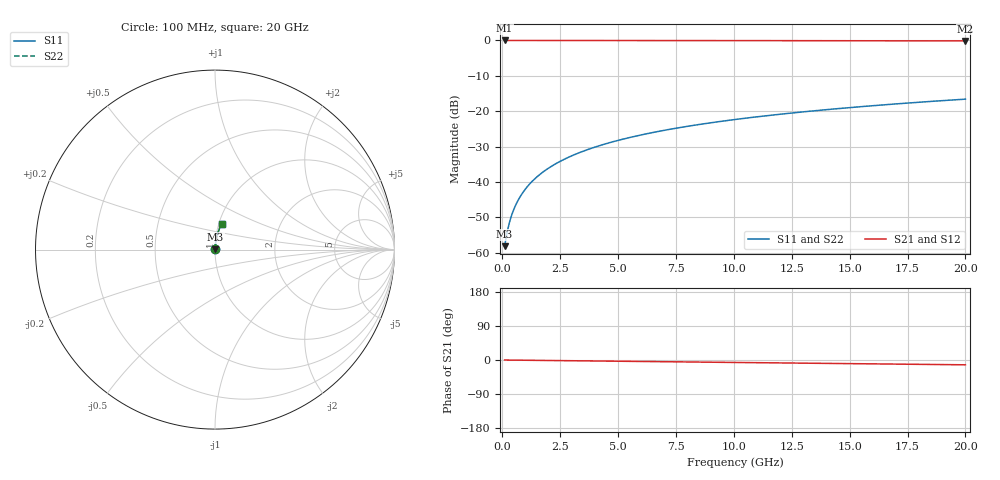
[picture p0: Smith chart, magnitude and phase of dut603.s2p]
! Touchstone file exported from HFSS 2026.1.0
!  File:  C:/ffzhzh/LocalFiles/Ansys_Project_Files/temp_train_BSMRDL_603_1783016095_51716.aedt
!  Generated:  02:16:14 AM Jul  3, 2026
!  Design:  BSMRDL
!  Project:  temp_train_BSMRDL_603_1783016095_51716
! Variables:
!  h_bsmrdl = 4.82um
!  h_ox = 20um
!  h_rdl = 5um
!  h_sub = 80um
!  h_tmrdl = 5um
!  h_tsv = 80um
!  h_via = 3um
!  l_bsmrdl = 141.13um
!  l_sub = 541.13um
!  l_tmrdl = 200um
!  m_sub = 200um
!  pitch = 41.61um
!  r_tsv = 6um
!  s_tmrdl = 10um
!  w_bsmrdl = 12.82um
!  w_sub = 500um
!  w_tmrdl = 12um
!  x_tsv_center1 = 206um
!  x_tsv_center2 = 359.95um
!  x_tsv_center3 = 571.95um
!  x_tsv_center4 = 725.9um
!  x_tsv_center5 = 937.9um
!  x_tsv_center6 = 1091.85um
# GHz S MA R 50.000000
! Terminal data exported
! Port[1] = BSM_RDL1_1_T1
! Port[2] = BSM_RDL1_1_T2
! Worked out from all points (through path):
!   200 points, 100 MHz to 20 GHz, reference 50 ohm
!   highest |S21| = -0.01 dB at 100 MHz (marker M1); lowest = -0.1 dB at 20 GHz (marker M2)
!   group delay of S21, straight-line fit = 1.76 ps
!   lowest |S11| = -58.2 dB at 100 MHz (marker M3), VSWR 1.00, Z = 50.1 + j0.0818 ohm
!   |S11| at or under -10 dB: start of sweep to end of sweep
!   |S22| runs from -58.2 to -16.6 dB; largest |S21 - S12| = 2e-15
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0.1  0.001237 41.3  0.9991 -0.1  0.9991 -0.1  0.001237 41.3
! Gamma 0 0 0 0
! Port Impedance 50 0 50 0
0.2  0.001883 59.6  0.9991 -0.1  0.9991 -0.1  0.001883 59.6
0.3  0.002612 67.9  0.999 -0.2  0.999 -0.2  0.002612 67.9
0.4  0.003362 72.4  0.999 -0.3  0.999 -0.3  0.003362 72.4
0.5  0.00412 75.3  0.999 -0.3  0.999 -0.3  0.00412 75.3
0.6  0.004883 77.3  0.9989 -0.4  0.9989 -0.4  0.004883 77.3
0.8  0.006415 79.9  0.9989 -0.5  0.9989 -0.5  0.006415 79.9
1.1  0.008728 82.0  0.9988 -0.7  0.9988 -0.7  0.008728 82.0
1.5  0.01182 83.4  0.9988 -1.0  0.9988 -1.0  0.01182 83.4
1.8  0.01415 84.0  0.9987 -1.2  0.9987 -1.2  0.01415 84.0
2.1  0.01647 84.3  0.9986 -1.4  0.9986 -1.4  0.01647 84.3
2.7  0.0211 84.6  0.9984 -1.8  0.9984 -1.8  0.0211 84.6
3.5  0.02725 84.5  0.9981 -2.3  0.9981 -2.3  0.02725 84.5
4.2  0.03261 84.3  0.9978 -2.7  0.9978 -2.7  0.03261 84.3
5  0.03868 84.0  0.9974 -3.3  0.9974 -3.3  0.03868 84.0
5.9  0.04547 83.6  0.9969 -3.8  0.9969 -3.8  0.04547 83.6
6.8  0.05222 83.1  0.9964 -4.4  0.9964 -4.4  0.05222 83.1
8.3  0.06339 82.4  0.9955 -5.4  0.9955 -5.4  0.06339 82.4
10.1  0.07668 81.4  0.9942 -6.5  0.9942 -6.5  0.07668 81.4
13.4  0.1008 79.5  0.9916 -8.6  0.9916 -8.6  0.1008 79.5
16.7  0.1246 77.7  0.9885 -10.6  0.9885 -10.6  0.1246 77.6
20  0.148 75.7  0.9849 -12.7  0.9849 -12.7  0.148 75.7
